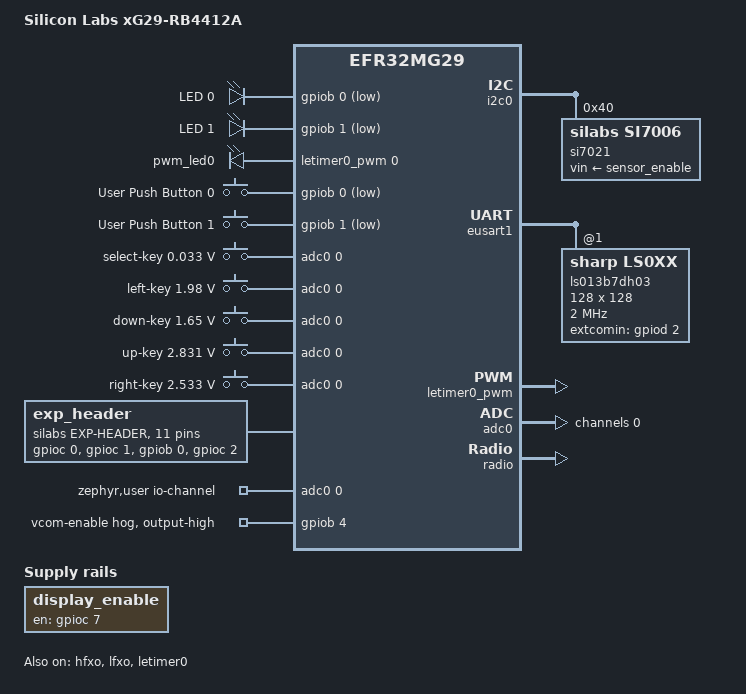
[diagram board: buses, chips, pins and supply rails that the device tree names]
/*
 * Copyright (c) 2025 Silicon Laboratories Inc.
 *
 * SPDX-License-Identifier: Apache-2.0
 */

/dts-v1/;
#include <silabs/xg29/efr32mg29b140f1024im40.dtsi>
#include <zephyr/dt-bindings/adc/silabs-adc.h>
#include <zephyr/dt-bindings/input/input-event-codes.h>
#include <zephyr/dt-bindings/pwm/pwm.h>
#include <zephyr/dt-bindings/regulator/silabs_dcdc.h>
#include "xg29_common.dtsi"
#include "xg29_rb4412a-pinctrl.dtsi"

/ {
	model = "Silicon Labs xG29-RB4412A";
	compatible = "silabs,xg29_rb4412a", "silabs,efr32mg29";

	chosen {
		zephyr,display = &ls013b7dh03;
	};

	aliases {
		adc0 = &adc0;
		dht0 = &si7021;
		pwm-led0 = &pwm_led0;
		sw0 = &button0;
		sw1 = &button1;
	};

	leds {
		compatible = "gpio-leds";

		led0: led_0 {
			gpios = <&gpiob 0 GPIO_ACTIVE_LOW>;
			label = "LED 0";
		};

		led1: led_1 {
			gpios = <&gpiob 1 GPIO_ACTIVE_LOW>;
			label = "LED 1";
		};
	};

	pwmleds {
		compatible = "pwm-leds";

		pwm_led0: pwm_led_0 {
			pwms = <&letimer0_pwm 0 PWM_MSEC(20) PWM_POLARITY_INVERTED>;
		};
	};

	buttons {
		compatible = "gpio-keys";

		button0: button_0 {
			gpios = <&gpiob 0 GPIO_ACTIVE_LOW>;
			label = "User Push Button 0";
			zephyr,code = <INPUT_KEY_0>;
		};

		button1: button_1 {
			gpios = <&gpiob 1 GPIO_ACTIVE_LOW>;
			label = "User Push Button 1";
			zephyr,code = <INPUT_KEY_1>;
		};
	};

	joystick {
		compatible = "adc-keys";
		io-channels = <&adc0 0>;
		keyup-threshold-mv = <3300>;

		select-key {
			press-thresholds-mv = <33>;
			zephyr,code = <INPUT_KEY_ENTER>;
		};

		left-key {
			press-thresholds-mv = <1980>;
			zephyr,code = <INPUT_KEY_LEFT>;
		};

		down-key {
			press-thresholds-mv = <1650>;
			zephyr,code = <INPUT_KEY_DOWN>;
		};

		up-key {
			press-thresholds-mv = <2831>;
			zephyr,code = <INPUT_KEY_UP>;
		};

		right-key {
			press-thresholds-mv = <2533>;
			zephyr,code = <INPUT_KEY_RIGHT>;
		};
	};

	display_enable: sensor_enable: gpio_switch_0 {
		compatible = "regulator-fixed";
		enable-gpios = <&gpioc 7 GPIO_ACTIVE_HIGH>;
		regulator-name = "sensor_enable";
	};

	exp_header: exp-header {
		compatible = "silabs,exp-header";
		#gpio-cells = <2>;
		gpio-map = <4 0 &gpioc 0 0>,
			   <6 0 &gpioc 1 0>,
			   <7 0 &gpiob 0 0>,
			   <8 0 &gpioc 2 0>,
			   <9 0 &gpiob 1 0>,
			   <10 0 &gpioc 3 0>,
			   <12 0 &gpioa 5 0>,
			   <13 0 &gpioa 8 0>,
			   <14 0 &gpioa 6 0>,
			   <15 0 &gpiob 2 0>,
			   <16 0 &gpiob 3 0>;
		gpio-map-mask = <0xffffffff 0x0>;
		gpio-map-pass-thru = <0x0 GPIO_DT_FLAGS_MASK>;
	};

	zephyr,user {
		io-channels = <&adc0 0>;
	};
};

&hfxo {
	ctune = <140>;
	precision = <50>;
	status = "okay";
};

&lfxo {
	ctune = <63>;
	precision = <50>;
	status = "okay";
};

&i2c0 {
	pinctrl-0 = <&i2c0_default>;
	pinctrl-names = "default";
	status = "okay";

	si7021: si7021@40 {
		compatible = "silabs,si7006";
		reg = <0x40>;
		vin-supply = <&sensor_enable>;
	};
};

&eusart1 {
	cs-gpios = <&gpioa 4 GPIO_ACTIVE_LOW>, <&gpioc 6 GPIO_ACTIVE_HIGH>;

	ls013b7dh03: ls0xx@1 {
		compatible = "sharp,ls0xx";
		reg = <1>;
		height = <128>;
		spi-max-frequency = <DT_FREQ_M(2)>;
		width = <128>;
		extcomin-gpios = <&gpiod 2 GPIO_ACTIVE_HIGH>;
		extcomin-frequency = <60>;
	};
};

&letimer0 {
	status = "okay";

	letimer0_pwm: pwm {
		pinctrl-0 = <&letimer0_default>;
		pinctrl-names = "default";
		status = "okay";
	};
};

&adc0 {
	pinctrl-0 = <&iadc0_default>;
	pinctrl-names = "default";
	#address-cells = <1>;
	#size-cells = <0>;
	status = "okay";

	channel@0 {
		reg = <0>;
		zephyr,acquisition-time = <ADC_ACQ_TIME_DEFAULT>;
		zephyr,gain = "ADC_GAIN_1";
		zephyr,input-positive = <IADC_INPUT_PD3>;
		zephyr,reference = "ADC_REF_VDD_1";
		zephyr,resolution = <12>;
		zephyr,vref-mv = <3300>;
	};
};

&gpiob {
	vcom-enable {
		gpio-hog;
		gpios = <4 GPIO_ACTIVE_HIGH>;
		output-high;
	};
};

&dcdc {
	status = "okay";
	regulator-boot-on;
	regulator-initial-mode = <SILABS_DCDC_MODE_BUCK>;
};

&radio {
	pa-voltage-mv = <1800>;
};
